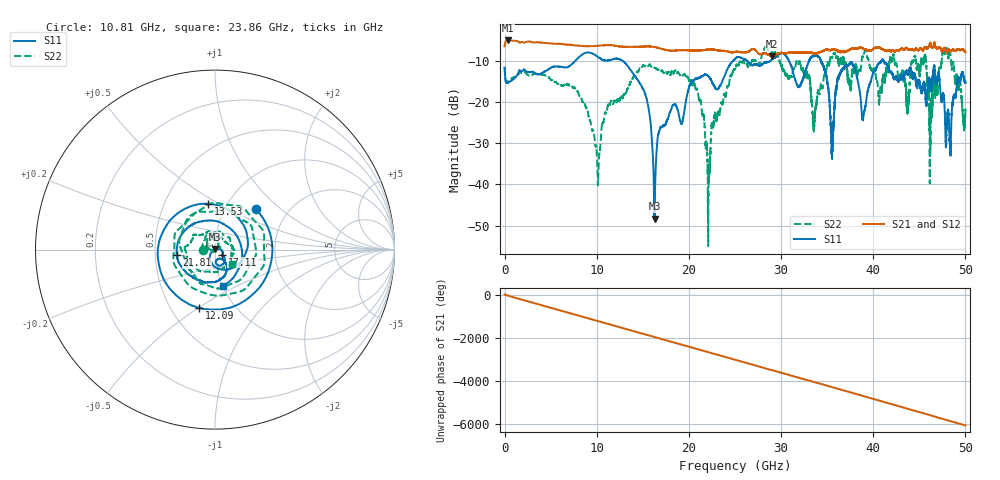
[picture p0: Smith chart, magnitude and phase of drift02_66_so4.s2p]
!Created with skrf (http://scikit-rf.org).
# Hz S RI R 50.0
!freq ReS11 ImS11 ReS21 ImS21 ReS12 ImS12 ReS22 ImS22
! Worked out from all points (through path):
!   10001 points, 300 kHz to 50 GHz, reference 50 ohm
!   highest |S21| = -5.04 dB at 335.3 MHz (marker M1); lowest = -8.9 dB at 28.98 GHz (marker M2)
!   group delay of S21, straight-line fit = 336 ps
!   lowest |S11| = -48.3 dB at 16.27 GHz (marker M3), VSWR 1.01, Z = 49.9 + j0.367 ohm
!   |S11| at or under -10 dB: start of sweep to 7.672 GHz; 12.81 GHz to 24.78 GHz (11.97 GHz wide, 63.7 % of centre); 41.13 GHz to end of sweep (the widest 3 of 8)
!   |S22| runs from -55.0 to -6.7 dB; largest |S21 - S12| = 0.03
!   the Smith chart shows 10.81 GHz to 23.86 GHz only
!   S11 on the Smith chart (normalised r, x): 10.81 GHz: 1.38, +0.70; 12.09 GHz: 0.69, -0.51; 13.53 GHz: 0.82, +0.45; 17.11 GHz: 1.08, -0.06; 21.81 GHz: 0.65, -0.04; 23.86 GHz: 1.01, -0.42
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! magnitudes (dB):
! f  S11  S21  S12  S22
! 300 kHz  -11.7  -6.5  -6.5  -11.6
! 335.3 MHz  -15.3  -5.0  -5.0  -15.1
! 8.335 GHz  -8.6  -6.4  -6.4  -19.1
! 10.11 GHz  -9.0  -6.3  -6.3  -39.1
! 10.81 GHz  -9.8  -6.2  -6.2  -23.6
! 12.09 GHz  -9.5  -6.4  -6.4  -20.4
! 13.53 GHz  -11.7  -6.6  -6.6  -16.0
! 16.27 GHz  -48.3  -6.6  -6.7  -11.7
! 16.67 GHz  -27.9  -6.8  -6.8  -12.1
! 17.11 GHz  -26.0  -7.1  -7.1  -12.4
! 21.81 GHz  -13.3  -7.3  -7.3  -30.4
! 23.86 GHz  -13.7  -7.6  -7.6  -18.2
! 25 GHz  -9.5  -7.8  -7.8  -12.0
! 28.98 GHz  -9.8  -8.9  -8.9  -8.0
! 33.34 GHz  -9.1  -8.0  -8.0  -20.8
! 35.54 GHz  -33.8  -7.3  -7.3  -9.2
! 36.78 GHz  -11.9  -7.8  -7.8  -9.7
! 38.94 GHz  -23.3  -7.1  -7.0  -8.9
! 41.67 GHz  -11.9  -7.4  -7.5  -11.8
! 46.25 GHz  -17.5  -6.1  -6.1  -23.0
! 48.13 GHz  -21.8  -7.1  -7.1  -9.1
! 50 GHz  -15.3  -7.9  -7.9  -22.8
